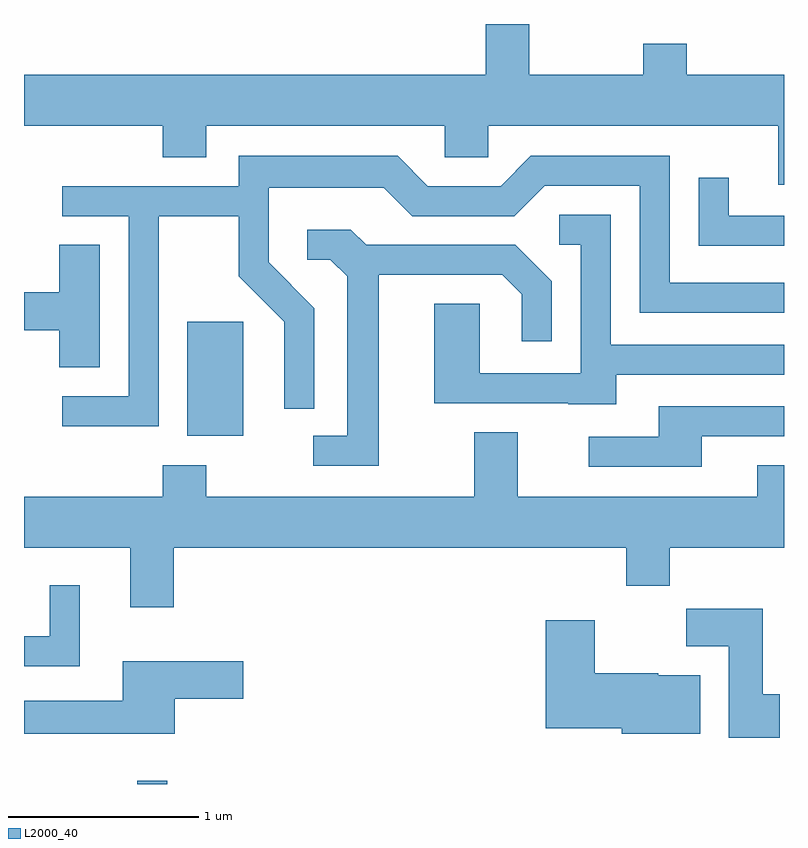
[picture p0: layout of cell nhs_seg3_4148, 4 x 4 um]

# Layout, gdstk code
import gdstk
lib = gdstk.Library(unit=1e-6, precision=1e-09)
def R(c, l, rs):  # rectangles x0, y0, x1, y1
    for r in rs: c.add(gdstk.rectangle(r[:2], r[2:], *l))
def P(c, l, *ps):  # polygons
    for p in ps: c.add(gdstk.Polygon(p, *l))
L2000_40 = (2000, 40)

nhs_seg3_4148 = lib.new_cell('nhs_seg3_4148')
R(nhs_seg3_4148, L2000_40, [(308.206,1115.892,308.364,1115.908), (308.471,1117.726,308.764,1118.324)])
P(nhs_seg3_4148, L2000_40, [(311.611,1119.624),(311.099,1119.624),(311.099,1119.789),(310.871,1119.789),(310.871,1119.624),(310.269,1119.624),(310.269,1119.892),(310.041,1119.892),(310.041,1119.624),(307.611,1119.624),(307.611,1119.356),(308.341,1119.356),(308.341,1119.191),(308.569,1119.191),(308.569,1119.356),(309.826,1119.356),(309.826,1119.191),(310.054,1119.191),(310.054,1119.356),(311.581,1119.356),(311.581,1119.046),(311.611,1119.046)],
  [(308.319,1118.881),(308.741,1118.881),(308.741,1118.564),(308.981,1118.324),(308.981,1117.868),(309.139,1117.868),(309.139,1118.397),(308.899,1118.637),(308.899,1119.031),(309.504,1119.031),(309.654,1118.881),(310.192,1118.881),(310.352,1119.041),(310.851,1119.041),(310.851,1118.371),(311.611,1118.371),(311.611,1118.529),(311.009,1118.529),(311.009,1119.199),(310.279,1119.199),(310.119,1119.039),(309.737,1119.039),(309.577,1119.199),(308.741,1119.199),(308.741,1119.039),(307.813,1119.039),(307.813,1118.881),(308.161,1118.881),(308.161,1117.934),(307.813,1117.934),(307.813,1117.776),(308.319,1117.776)],
  [(311.611,1118.884),(311.319,1118.884),(311.319,1119.083),(311.161,1119.083),(311.161,1118.726),(311.611,1118.726)],
  [(310.729,1118.046),(311.611,1118.046),(311.611,1118.204),(310.699,1118.204),(310.699,1118.889),(310.428,1118.889),(310.428,1118.731),(310.541,1118.731),(310.541,1118.054),(310.009,1118.054),(310.009,1118.419),(309.771,1118.419),(309.771,1117.896),(310.475,1117.896),(310.475,1117.891),(310.729,1117.891)],
  [(309.479,1118.571),(310.129,1118.571),(310.231,1118.469),(310.231,1118.223),(310.389,1118.223),(310.389,1118.537),(310.197,1118.729),(309.412,1118.729),(309.332,1118.809),(309.103,1118.809),(309.103,1118.651),(309.224,1118.651),(309.311,1118.564),(309.311,1117.724),(309.133,1117.724),(309.133,1117.566),(309.479,1117.566)],
  [(308.009,1118.729),(307.796,1118.729),(307.796,1118.479),(307.611,1118.479),(307.611,1118.281),(307.796,1118.281),(307.796,1118.086),(308.009,1118.086)],
  [(311.179,1117.721),(311.611,1117.721),(311.611,1117.879),(310.951,1117.879),(310.951,1117.719),(310.583,1117.719),(310.583,1117.561),(311.179,1117.561)],
  [(308.399,1117.136),(310.781,1117.136),(310.781,1116.936),(311.009,1116.936),(311.009,1117.136),(311.611,1117.136),(311.611,1117.569),(311.471,1117.569),(311.471,1117.404),(310.209,1117.404),(310.209,1117.744),(309.981,1117.744),(309.981,1117.404),(308.569,1117.404),(308.569,1117.569),(308.341,1117.569),(308.341,1117.404),(307.611,1117.404),(307.611,1117.136),(308.171,1117.136),(308.171,1116.821),(308.399,1116.821)],
  [(307.904,1116.938),(307.746,1116.938),(307.746,1116.669),(307.611,1116.669),(307.611,1116.511),(307.904,1116.511)],
  [(311.589,1116.364),(311.499,1116.364),(311.499,1116.814),(311.096,1116.814),(311.096,1116.616),(311.321,1116.616),(311.321,1116.136),(311.589,1116.136)],
  [(311.169,1116.464),(310.95,1116.464),(310.95,1116.474),(310.614,1116.474),(310.614,1116.754),(310.356,1116.754),(310.356,1116.186),(310.756,1116.186),(310.756,1116.156),(311.169,1116.156)],
  [(308.404,1116.341),(308.764,1116.341),(308.764,1116.539),(308.131,1116.539),(308.131,1116.329),(307.611,1116.329),(307.611,1116.156),(308.404,1116.156)])

lib.write_gds('nhs_seg3_4148.gds')
